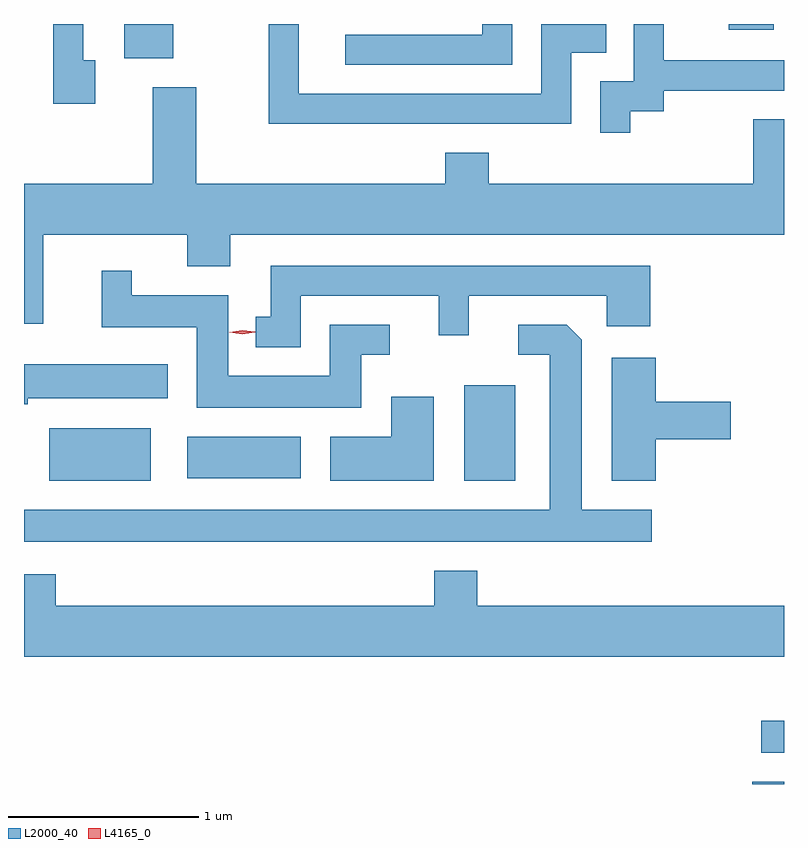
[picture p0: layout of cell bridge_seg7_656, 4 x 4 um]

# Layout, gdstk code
import gdstk
lib = gdstk.Library(unit=1e-6, precision=1e-09)
def R(c, l, rs):  # rectangles x0, y0, x1, y1
    for r in rs: c.add(gdstk.rectangle(r[:2], r[2:], *l))
def P(c, l, *ps):  # polygons
    for p in ps: c.add(gdstk.Polygon(p, *l))
L2000_40 = (2000, 40)
L4165_0 = (4165, 0)

bridge_seg7_656 = lib.new_cell('bridge_seg7_656')
R(bridge_seg7_656, L2000_40, [(974.136,1711.426,974.303,1711.439), (974.183,1711.591,974.303,1711.759), (970.436,1713.021,970.969,1713.299), (972.621,1713.021,972.889,1713.524), (971.161,1713.036,971.759,1713.254), (970.831,1715.246,971.089,1715.426), (974.013,1715.396,974.249,1715.426)])
P(bridge_seg7_656, L2000_40, [(973.494,1714.966),(973.669,1714.966),(973.669,1715.076),(974.303,1715.076),(974.303,1715.234),(973.669,1715.234),(973.669,1715.426),(973.511,1715.426),(973.511,1715.124),(973.336,1715.124),(973.336,1714.853),(973.494,1714.853)],
  [(973.184,1715.276),(973.368,1715.276),(973.368,1715.426),(973.026,1715.426),(973.026,1715.059),(971.749,1715.059),(971.749,1715.426),(971.591,1715.426),(971.591,1714.901),(973.184,1714.901)],
  [(972.874,1715.426),(972.716,1715.426),(972.716,1715.369),(971.993,1715.369),(971.993,1715.211),(972.874,1715.211)],
  [(970.679,1715.234),(970.614,1715.234),(970.614,1715.426),(970.456,1715.426),(970.456,1715.006),(970.679,1715.006)],
  [(970.404,1714.316),(971.161,1714.316),(971.161,1714.151),(971.389,1714.151),(971.389,1714.316),(974.303,1714.316),(974.303,1714.924),(974.141,1714.924),(974.141,1714.584),(972.749,1714.584),(972.749,1714.749),(972.521,1714.749),(972.521,1714.584),(971.209,1714.584),(971.209,1715.094),(970.981,1715.094),(970.981,1714.584),(970.303,1714.584),(970.303,1713.848),(970.404,1713.848)],
  [(971.759,1713.996),(972.486,1713.996),(972.486,1713.788),(972.644,1713.788),(972.644,1713.996),(973.371,1713.996),(973.371,1713.836),(973.599,1713.836),(973.599,1714.154),(971.601,1714.154),(971.601,1713.884),(971.523,1713.884),(971.523,1713.726),(971.759,1713.726)],
  [(972.079,1713.686),(972.228,1713.686),(972.228,1713.844),(971.911,1713.844),(971.911,1713.574),(971.379,1713.574),(971.379,1713.999),(970.869,1713.999),(970.869,1714.128),(970.711,1714.128),(970.711,1713.831),(971.211,1713.831),(971.211,1713.406),(972.079,1713.406)],
  [(973.608,1712.869),(973.239,1712.869),(973.239,1713.764),(973.159,1713.844),(972.903,1713.844),(972.903,1713.686),(973.071,1713.686),(973.071,1712.869),(970.303,1712.869),(970.303,1712.701),(973.608,1712.701)],
  [(973.629,1713.241),(974.024,1713.241),(974.024,1713.439),(973.629,1713.439),(973.629,1713.669),(973.396,1713.669),(973.396,1713.021),(973.629,1713.021)],
  [(970.324,1713.456),(971.059,1713.456),(971.059,1713.634),(970.303,1713.634),(970.303,1713.426),(970.324,1713.426)],
  [(972.459,1713.464),(972.236,1713.464),(972.236,1713.254),(971.916,1713.254),(971.916,1713.021),(972.459,1713.021)],
  [(974.303,1712.364),(972.689,1712.364),(972.689,1712.549),(972.461,1712.549),(972.461,1712.364),(970.469,1712.364),(970.469,1712.529),(970.303,1712.529),(970.303,1712.096),(974.303,1712.096)])
P(bridge_seg7_656, L4165_0, [(971.451,1713.794),(971.382,1713.803),(971.382,1713.803),(971.382,1713.804),(971.451,1713.814),(971.521,1713.805),(971.521,1713.804),(971.521,1713.804)])

lib.write_gds('bridge_seg7_656.gds')
